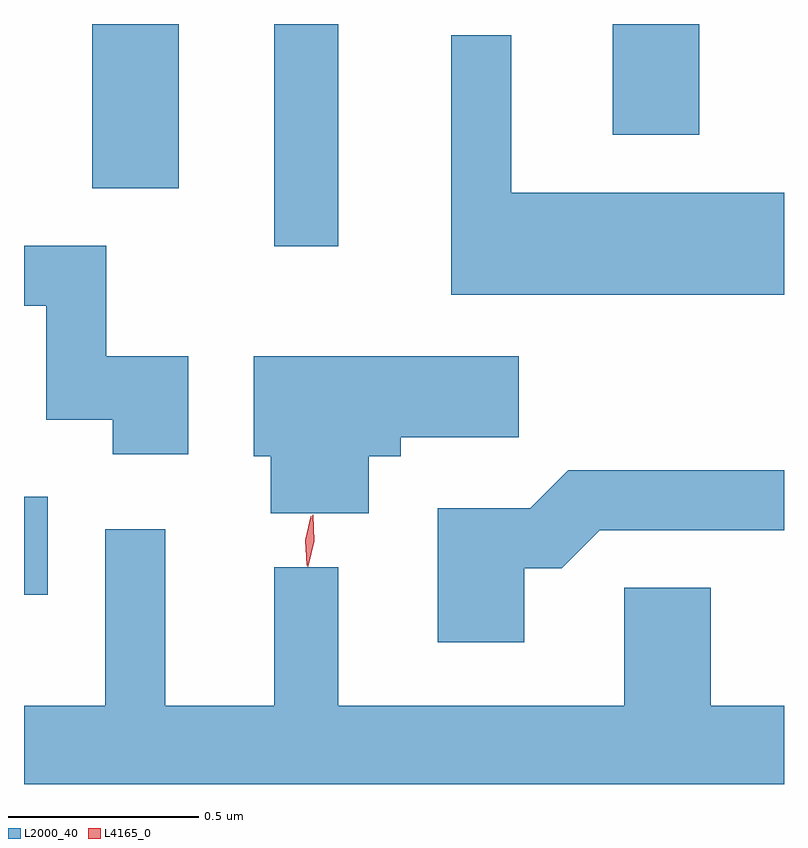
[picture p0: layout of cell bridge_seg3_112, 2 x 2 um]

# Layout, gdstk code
import gdstk
lib = gdstk.Library(unit=1e-6, precision=1e-09)
def R(c, l, rs):  # rectangles x0, y0, x1, y1
    for r in rs: c.add(gdstk.rectangle(r[:2], r[2:], *l))
def P(c, l, *ps):  # polygons
    for p in ps: c.add(gdstk.Polygon(p, *l))
L2000_40 = (2000, 40)
L4165_0 = (4165, 0)

bridge_seg3_112 = lib.new_cell('bridge_seg3_112')
R(bridge_seg3_112, L2000_40, [(948.402,1246.456,948.464,1246.714), (949.061,1247.373,949.229,1247.958), (948.581,1247.526,948.809,1247.958), (949.951,1247.666,950.179,1247.958)])
P(bridge_seg3_112, L2000_40, [(950.402,1247.514),(949.684,1247.514),(949.684,1247.928),(949.526,1247.928),(949.526,1247.246),(950.402,1247.246)],
  [(948.834,1247.084),(948.619,1247.084),(948.619,1247.374),(948.402,1247.374),(948.402,1247.216),(948.461,1247.216),(948.461,1246.916),(948.636,1246.916),(948.636,1246.826),(948.834,1246.826)],
  [(949.309,1246.821),(949.394,1246.821),(949.394,1246.871),(949.704,1246.871),(949.704,1247.084),(949.006,1247.084),(949.006,1246.821),(949.051,1246.821),(949.051,1246.671),(949.309,1246.671)],
  [(949.719,1246.526),(949.817,1246.526),(949.917,1246.626),(950.402,1246.626),(950.402,1246.784),(949.834,1246.784),(949.734,1246.684),(949.491,1246.684),(949.491,1246.331),(949.719,1246.331)],
  [(950.402,1246.164),(950.209,1246.164),(950.209,1246.474),(949.981,1246.474),(949.981,1246.164),(949.229,1246.164),(949.229,1246.528),(949.061,1246.528),(949.061,1246.164),(948.774,1246.164),(948.774,1246.628),(948.616,1246.628),(948.616,1246.164),(948.402,1246.164),(948.402,1245.958),(950.402,1245.958)])
P(bridge_seg3_112, L4165_0, [(949.149,1246.53),(949.149,1246.531),(949.146,1246.599),(949.162,1246.666),(949.162,1246.666),(949.163,1246.666),(949.166,1246.597),(949.15,1246.531)],
  [(949.146,1246.534),(949.142,1246.599),(949.157,1246.662),(949.158,1246.662),(949.158,1246.662),(949.162,1246.597),(949.147,1246.534),(949.147,1246.534)])

lib.write_gds('bridge_seg3_112.gds')
